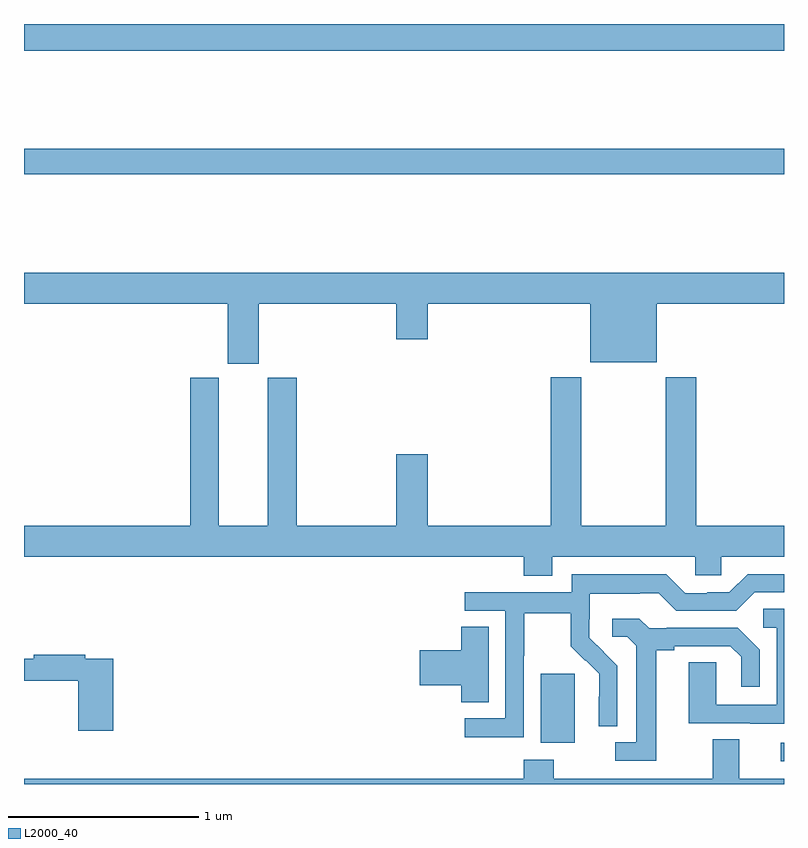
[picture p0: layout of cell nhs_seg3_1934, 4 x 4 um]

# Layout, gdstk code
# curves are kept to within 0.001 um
import gdstk
lib = gdstk.Library(unit=1e-6, precision=1e-09)
def R(c, l, rs):  # rectangles x0, y0, x1, y1
    for r in rs: c.add(gdstk.rectangle(r[:2], r[2:], *l))
def P(c, l, *ps):  # polygons
    for p in ps: c.add(gdstk.Polygon(p, *l))
L2000_40 = (2000, 40)

nhs_seg3_1934 = lib.new_cell('nhs_seg3_1934')
R(nhs_seg3_1934, L2000_40, [(214.983,686.52,215,686.616), (213.719,686.618,213.898,686.979), (211,689.608,215,689.744), (211,690.26,215,690.4)])
P(nhs_seg3_1934, L2000_40, [(212.236,688.928),(212.96,688.928),(212.96,688.74),(213.124,688.74),(213.124,688.928),(213.98,688.928),(213.98,688.619),(214.33,688.619),(214.33,688.928),(215,688.928),(215,689.092),(211,689.092),(211,688.928),(212.072,688.928),(212.072,688.611),(212.236,688.611)],
  [(213.781,687.596),(214.533,687.596),(214.533,687.498),(214.671,687.498),(214.671,687.596),(215,687.596),(215,687.76),(214.538,687.76),(214.538,688.54),(214.378,688.54),(214.378,687.76),(213.933,687.76),(213.933,688.54),(213.773,688.54),(213.773,687.76),(213.124,687.76),(213.124,688.135),(212.96,688.135),(212.96,687.76),(212.435,687.76),(212.435,688.539),(212.282,688.539),(212.282,687.76),(212.026,687.76),(212.026,688.539),(211.874,688.539),(211.874,687.76),(211,687.76),(211,687.596),(213.629,687.596),(213.629,687.497),(213.781,687.497)],
  [(213.63,687.076),(213.633,687.076),(213.633,687.3),(213.877,687.3),(213.877,687.125),(213.954,687.048),(213.957,687.051),(214.028,686.981),(214.028,686.858),(214.026,686.858),(214.026,686.704),(214.122,686.704),(214.122,687.022),(213.976,687.17),(213.976,687.267),(213.978,687.267),(213.978,687.401),(214.241,687.401),(214.241,687.405),(214.341,687.405),(214.434,687.312),(214.749,687.312),(214.845,687.408),(215,687.408),(215,687.504),(214.809,687.504),(214.713,687.408),(214.595,687.408),(214.595,687.405),(214.479,687.405),(214.379,687.505),(213.882,687.505),(213.882,687.408),(213.321,687.408),(213.321,687.312),(213.534,687.312),(213.534,686.745),(213.321,686.745),(213.321,686.647),(213.63,686.647)],
  [(215,687.323),(214.89,687.323),(214.89,687.222),(214.962,687.222),(214.962,686.817),(214.644,686.817),(214.644,687.041),(214.499,687.041),(214.499,686.721),(214.823,686.721),(214.823,686.717),(215,686.717)],
  [(214.327,687.104),(214.423,687.104),(214.423,687.126),(214.718,687.126),(214.775,687.069),(214.775,686.913),(214.872,686.913),(214.872,687.106),(214.756,687.222),(214.384,687.222),(214.384,687.219),(214.29,687.219),(214.238,687.271),(214.095,687.271),(214.095,687.174),(214.176,687.174),(214.223,687.127),(214.223,686.619),(214.113,686.619),(214.113,686.523),(214.327,686.523)],
  [(213.445,687.227),(213.302,687.227),(213.302,687.104),(213.084,687.104),(213.084,686.921),(213.302,686.921),(213.302,686.83),(213.445,686.83)],
  [(211.469,687.06),(211.322,687.06),(211.322,687.08),(211.051,687.08),(211.051,687.06),(211,687.06),(211,686.944),(211.286,686.944),(211.286,686.679),(211.469,686.679)],
  [(215,686.428),(214.765,686.428),(214.765,686.636),(214.625,686.636),(214.625,686.428),(213.789,686.428),(213.789,686.527),(213.629,686.527),(213.629,686.428),(211,686.428),(211,686.4),(215,686.4)])

lib.write_gds('nhs_seg3_1934.gds')
